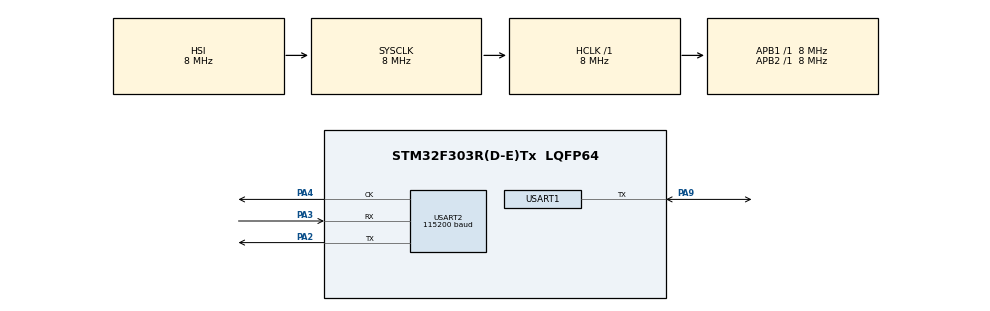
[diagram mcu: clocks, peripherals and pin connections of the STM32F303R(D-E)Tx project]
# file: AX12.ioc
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Dma.Request0=USART1_RX
Dma.Request1=USART1_TX
Dma.USART1_RX.0.Direction=DMA_PERIPH_TO_MEMORY
Dma.USART1_RX.0.Instance=DMA1_Channel5
Dma.USART1_RX.0.MemDataAlignment=DMA_MDATAALIGN_BYTE
Dma.USART1_RX.0.MemInc=DMA_MINC_ENABLE
Dma.USART1_RX.0.Mode=DMA_NORMAL
Dma.USART1_RX.0.PeriphDataAlignment=DMA_PDATAALIGN_BYTE
Dma.USART1_RX.0.PeriphInc=DMA_PINC_DISABLE
Dma.USART1_RX.0.Priority=DMA_PRIORITY_LOW
Dma.USART1_TX.1.Direction=DMA_MEMORY_TO_PERIPH
Dma.USART1_TX.1.Instance=DMA1_Channel4
Dma.USART1_TX.1.MemDataAlignment=DMA_MDATAALIGN_BYTE
Dma.USART1_TX.1.MemInc=DMA_MINC_ENABLE
Dma.USART1_TX.1.Mode=DMA_NORMAL
Dma.USART1_TX.1.PeriphDataAlignment=DMA_PDATAALIGN_BYTE
Dma.USART1_TX.1.PeriphInc=DMA_PINC_DISABLE
Dma.USART1_TX.1.Priority=DMA_PRIORITY_LOW
Mcu.Family=STM32F3
Mcu.Name=STM32F303R(D-E)Tx
Mcu.Package=LQFP64
NVIC.DMA1_Channel4_IRQn=true\:0\:0\:false\:false\:true\:false\:true
NVIC.DMA1_Channel5_IRQn=true\:0\:0\:false\:false\:true\:false\:true
NVIC.PriorityGroup=NVIC_PRIORITYGROUP_4
NVIC.USART1_IRQn=true\:0\:0\:false\:false\:true\:true\:true
PA2.Mode=Synchronous
PA2.Signal=USART2_TX
PA3.Mode=Synchronous
PA3.Signal=USART2_RX
PA4.Mode=Synchronous
PA4.Signal=USART2_CK
PA9.Mode=Half_duplex(single_wire_mode)
PA9.Signal=USART1_TX
ProjectManager.HeapSize=0x200
ProjectManager.StackSize=0x400
ProjectManager.TargetToolchain=STM32CubeIDE
RCC.AHBFreq_Value=8000000
RCC.APB1Freq_Value=8000000
RCC.APB1TimFreq_Value=8000000
RCC.APB2Freq_Value=8000000
RCC.CortexFreq_Value=8000000
RCC.HSE_VALUE=8000000
RCC.HSI_VALUE=8000000
RCC.LSE_VALUE=32768
RCC.SYSCLKFreq_VALUE=8000000
RCC.USBFreq_Value=16000000
USART1.BaudRate=115200
USART1.SwapParam=ADVFEATURE_SWAP_DISABLE
USART1.TxPinLevelInvertParam=ADVFEATURE_TXINV_DISABLE
USART1.VirtualMode-Half_duplex(single_wire_mode)=VM_ASYNC
USART2.BaudRate=115200
USART2.VirtualMode-Synchronous=VM_SYNC
board=custom

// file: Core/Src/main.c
/* USER CODE BEGIN Header */
/**
	******************************************************************************
	* @file					 : main.c
	* @brief					: Main program body
	******************************************************************************
	* @attention
	*
	* <h2><center>&copy; Copyright (c) 2020 STMicroelectronics.
	* All rights reserved.</center></h2>
	*
	* This software component is licensed by ST under BSD 3-Clause license,
	* the "License"; You may not use this file except in compliance with the
	* License. You may obtain a copy of the License at:
	*												opensource.org/licenses/BSD-3-Clause
	*
	******************************************************************************
	*/
/* USER CODE END Header */
#include "main.h"

/* USER CODE BEGIN PD */
# define MAX_AX12 10
/* USER CODE END PD */

UART_HandleTypeDef huart1;
USART_HandleTypeDef husart2;
DMA_HandleTypeDef hdma_usart1_rx;
DMA_HandleTypeDef hdma_usart1_tx;

void SystemClock_Config(void);
static void MX_GPIO_Init(void);
static void MX_DMA_Init(void);
static void MX_USART1_UART_Init(void);
static void MX_USART2_Init(void);

/* USER CODE BEGIN 0 */
/// Write syscall for printf
int _write(int fd, unsigned char *ptr, int len)
{
	if (HAL_USART_Transmit(&husart2, ptr, len, HAL_MAX_DELAY) != HAL_OK)
		return EIO;

	return len;
}

void assert(const char *code, const char *file, const unsigned line, const int res)
{
	if (res  == 0)
	{
		printf("\rassertion \"%s\" failed: file \"%s\", line %d\n", code, file, line);
		while (1);
	}
}

# define CHECK(X) check(#X, __FILE__, __LINE__, X)

void check(const char *code, const char *file, const unsigned line, int error)
{
	if (error != DXL_SUCCESS)
	{
		printf("\r%s:%d: \"%s\" tx send failed (%s)\n", file, line, code, dxl_get_error_name(error));
		while (1);
	}

	while (dxl_is_busy())
		dxl_process_status_packet();

	error = dxl_get_txrx_status();
	if (error != DXL_SUCCESS)
	{
		printf("\r%s:%d: \"%s\" rx receive failed (%s)\n", file, line, code, dxl_get_error_name(error));
		while (1);
	}

	printf("\r%s:%d: successfully executed %s\n", file, line, code);
}

# define CHECK_VAL(A, B) check_val(#A, __FILE__, __LINE__, A, B)

void check_val(const char *name, const char *file, const unsigned line, const unsigned var, const unsigned val)
{
	if (var != val)
		printf("\r%s:%d: expected (%s == %u), got (%s == %u)\n", file, line, name, var, name, val);
	else
		printf("\r%s:%d: passed test (%s == %u)\n", file, line, name, var);
}
/* USER CODE END 0 */

int main(void)
{

  /* MCU Configuration--------------------------------------------------------*/

  /* Reset of all peripherals, Initializes the Flash interface and the Systick. */
  HAL_Init();

  /* Configure the system clock */
  SystemClock_Config();

  /* Initialize all configured peripherals */
  MX_GPIO_Init();
  MX_DMA_Init();
  MX_USART1_UART_Init();
  MX_USART2_Init();
  /* USER CODE BEGIN 2 */
    CHECK(dxl_initialize(&huart1, 115200));
  /* USER CODE END 2 */

  /* Infinite loop */
  /* USER CODE BEGIN WHILE */
	while (1)
	{
		printf("\rBEGIN\n");

		int i = 1;
		for (; i < MAX_AX12; i++)
		{
			int err;
			printf("\rPING %02d - ", i);
			fflush(stdout);
			if ((err = dxl_ping(i)) != DXL_SUCCESS)
			{
				printf("%s\n", dxl_get_error_name(err));
				continue;
			}

			while (dxl_is_busy())
				dxl_process_status_packet();

			if ((err = dxl_get_txrx_status()) == DXL_SUCCESS)
			{
				printf("Success\n");
				break;
			}

			printf("%s\n", dxl_get_error_name(dxl_get_txrx_status()));
		}

		if (i == MAX_AX12)
		{
			printf("\rCould not find any AX12\n\n");
			while (1)
				;
		}
		else
			printf("\rDetected AX12 #%d\n\n", i);

		unsigned value;
		CHECK(dxl_write_byte(i, DXL_ADDRESS_LED_ENABLE, 1));
		CHECK(dxl_read_byte(i, DXL_ADDRESS_LED_ENABLE, &value));
		CHECK_VAL(value, 1);

		CHECK(dxl_write_byte(i, DXL_ADDRESS_LED_ENABLE, 0));
		CHECK(dxl_read_byte(i, DXL_ADDRESS_LED_ENABLE, &value));
		CHECK_VAL(value, 0);

		CHECK(dxl_set_goal_position(i, 256));
		CHECK(dxl_get_goal_position(i, &value));
		CHECK_VAL(value, 256);

		CHECK(dxl_set_goal_position(i, 768));
		CHECK(dxl_get_goal_position(i, &value));
		CHECK_VAL(value, 768);

		dxl_terminate();

		while (1)
			;
    /* USER CODE END WHILE */

	}
}

void SystemClock_Config(void)
{
  RCC_OscInitTypeDef RCC_OscInitStruct = {0};
  RCC_ClkInitTypeDef RCC_ClkInitStruct = {0};
  RCC_PeriphCLKInitTypeDef PeriphClkInit = {0};

  /** Initializes the RCC Oscillators according to the specified parameters
  * in the RCC_OscInitTypeDef structure.
  */
  RCC_OscInitStruct.OscillatorType = RCC_OSCILLATORTYPE_HSI;
  RCC_OscInitStruct.HSIState = RCC_HSI_ON;
  RCC_OscInitStruct.HSICalibrationValue = RCC_HSICALIBRATION_DEFAULT;
  RCC_OscInitStruct.PLL.PLLState = RCC_PLL_NONE;
  if (HAL_RCC_OscConfig(&RCC_OscInitStruct) != HAL_OK)
  {
    Error_Handler();
  }
  /** Initializes the CPU, AHB and APB buses clocks
  */
  RCC_ClkInitStruct.ClockType = RCC_CLOCKTYPE_HCLK|RCC_CLOCKTYPE_SYSCLK
                              |RCC_CLOCKTYPE_PCLK1|RCC_CLOCKTYPE_PCLK2;
  RCC_ClkInitStruct.SYSCLKSource = RCC_SYSCLKSOURCE_HSI;
  RCC_ClkInitStruct.AHBCLKDivider = RCC_SYSCLK_DIV1;
  RCC_ClkInitStruct.APB1CLKDivider = RCC_HCLK_DIV1;
  RCC_ClkInitStruct.APB2CLKDivider = RCC_HCLK_DIV1;

  if (HAL_RCC_ClockConfig(&RCC_ClkInitStruct, FLASH_LATENCY_0) != HAL_OK)
  {
    Error_Handler();
  }
  PeriphClkInit.PeriphClockSelection = RCC_PERIPHCLK_USART1|RCC_PERIPHCLK_USART2;
  PeriphClkInit.Usart1ClockSelection = RCC_USART1CLKSOURCE_PCLK2;
  PeriphClkInit.Usart2ClockSelection = RCC_USART2CLKSOURCE_PCLK1;
  if (HAL_RCCEx_PeriphCLKConfig(&PeriphClkInit) != HAL_OK)
  {
    Error_Handler();
  }
}

static void MX_USART1_UART_Init(void)
{

  huart1.Instance = USART1;
  huart1.Init.BaudRate = 115200;
  huart1.Init.WordLength = UART_WORDLENGTH_8B;
  huart1.Init.StopBits = UART_STOPBITS_1;
  huart1.Init.Parity = UART_PARITY_NONE;
  huart1.Init.Mode = UART_MODE_TX_RX;
  huart1.Init.HwFlowCtl = UART_HWCONTROL_NONE;
  huart1.Init.OverSampling = UART_OVERSAMPLING_16;
  huart1.Init.OneBitSampling = UART_ONE_BIT_SAMPLE_DISABLE;
  huart1.AdvancedInit.AdvFeatureInit = UART_ADVFEATURE_NO_INIT;
  if (HAL_HalfDuplex_Init(&huart1) != HAL_OK)
  {
    Error_Handler();
  }

}

static void MX_USART2_Init(void)
{

  husart2.Instance = USART2;
  husart2.Init.BaudRate = 115200;
  husart2.Init.WordLength = USART_WORDLENGTH_8B;
  husart2.Init.StopBits = USART_STOPBITS_1;
  husart2.Init.Parity = USART_PARITY_NONE;
  husart2.Init.Mode = USART_MODE_TX_RX;
  husart2.Init.CLKPolarity = USART_POLARITY_LOW;
  husart2.Init.CLKPhase = USART_PHASE_1EDGE;
  husart2.Init.CLKLastBit = USART_LASTBIT_DISABLE;
  if (HAL_USART_Init(&husart2) != HAL_OK)
  {
    Error_Handler();
  }

}

static void MX_DMA_Init(void)
{

  /* DMA controller clock enable */
  __HAL_RCC_DMA1_CLK_ENABLE();

  /* DMA interrupt init */
  /* DMA1_Channel4_IRQn interrupt configuration */
  HAL_NVIC_SetPriority(DMA1_Channel4_IRQn, 0, 0);
  HAL_NVIC_EnableIRQ(DMA1_Channel4_IRQn);
  /* DMA1_Channel5_IRQn interrupt configuration */
  HAL_NVIC_SetPriority(DMA1_Channel5_IRQn, 0, 0);
  HAL_NVIC_EnableIRQ(DMA1_Channel5_IRQn);

}

static void MX_GPIO_Init(void)
{

  /* GPIO Ports Clock Enable */
  __HAL_RCC_GPIOA_CLK_ENABLE();

}

void Error_Handler(void)
{
  /* USER CODE BEGIN Error_Handler_Debug */
	/* User can add his own implementation to report the HAL error return state */
	if (husart2.State == HAL_USART_STATE_READY)
		printf("\rCritical error in initialization\n\n");

	while (1)
		;

  /* USER CODE END Error_Handler_Debug */
}

/************************ (C) COPYRIGHT STMicroelectronics *****END OF FILE****/
